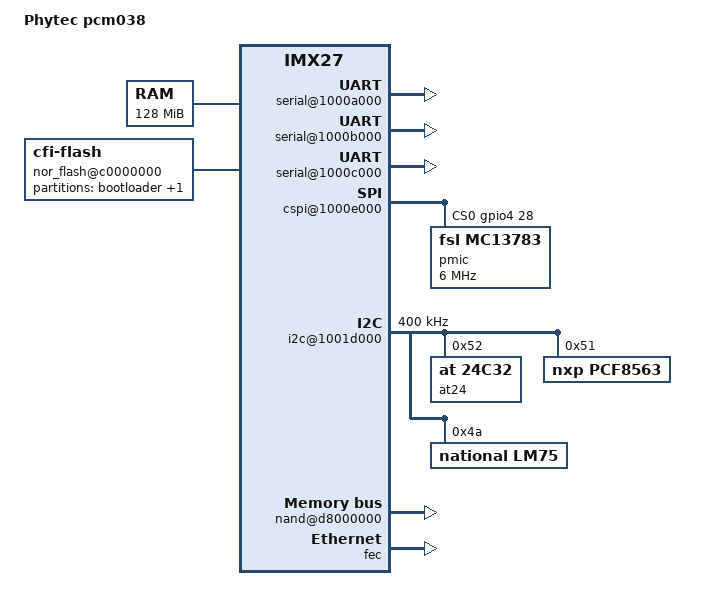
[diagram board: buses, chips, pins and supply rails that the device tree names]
/*
 * Copyright 2012 Sascha Hauer, Pengutronix
 *
 * The code contained herein is licensed under the GNU General Public
 * License. You may obtain a copy of the GNU General Public License
 * Version 2 or later at the following locations:
 *
 * http://www.opensource.org/licenses/gpl-license.html
 * http://www.gnu.org/copyleft/gpl.html
 */

/dts-v1/;
/include/ "imx27.dtsi"

/ {
	model = "Phytec pcm038";
	compatible = "phytec,imx27-pcm038", "fsl,imx27";

	aliases {
		bareboxenv = &bareboxenv;
	};

	memory {
		reg = <0xa0000000 0x08000000>;
	};

	chosen {
		linux,stdout-path = &uart1;
	};

	soc {
		aipi@10000000 { /* aipi */

			serial@1000a000 {
				fsl,uart-has-rtscts;
				status = "okay";
			};

			serial@1000b000 {
				fsl,uart-has-rtscts;
				status = "okay";
			};

			serial@1000c000 {
				fsl,uart-has-rtscts;
				status = "okay";
			};

			cspi@1000e000 {
				status = "okay";
				fsl,spi-num-chipselects = <1>;
				cs-gpios = <&gpio4 28 0>;
				pmic:mc13783@0 {
					#address-cells = <1>;
					#size-cells = <0>;
					compatible = "fsl,mc13783";
					spi-max-frequency = <6000000>;
					reg = <0>;
				};
			};

			i2c@1001d000 {
				clock-frequency = <400000>;
				status = "okay";
				at24@4c {
					compatible = "at,24c32";
					pagesize = <32>;
					reg = <0x52>;
				};
				pcf8563@51 {
					compatible = "nxp,pcf8563";
					reg = <0x51>;
				};
				lm75@4a {
					compatible = "national,lm75";
					reg = <0x4a>;
				};
			};
		};
	};

	nand@d8000000 {
		status = "okay";
	};

	nor_flash@c0000000 {
		compatible = "cfi-flash";
		bank-width = <2>;
		reg = <0xc0000000 0x02000000>;
		#address-cells = <1>;
		#size-cells = <1>;

		partition@0 {
			label = "bootloader";
			reg = <0x0 0x80000>;
		};
		bareboxenv: partition@80000 {
			label = "bootloader-environment";
			reg = <0x80000 0x80000>;
		};
	};
};

&fec {
	status = "okay";
};
